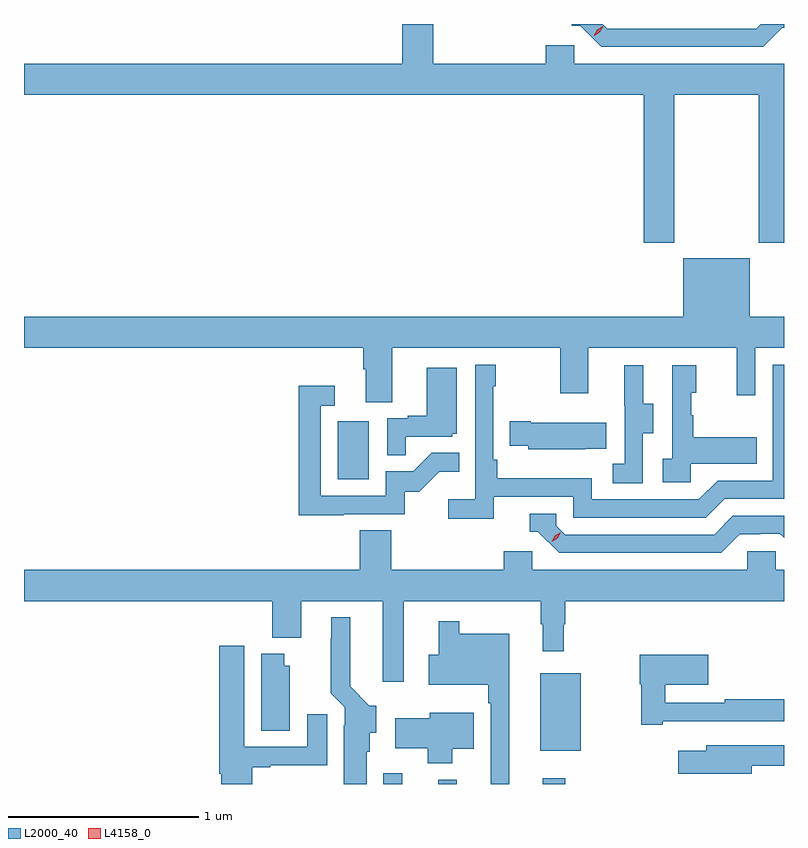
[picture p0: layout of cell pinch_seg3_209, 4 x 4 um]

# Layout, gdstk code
import gdstk
lib = gdstk.Library(unit=1e-6, precision=1e-09)
def R(c, l, rs):  # rectangles x0, y0, x1, y1
    for r in rs: c.add(gdstk.rectangle(r[:2], r[2:], *l))
def P(c, l, *ps):  # polygons
    for p in ps: c.add(gdstk.Polygon(p, *l))
L2000_40 = (2000, 40)
L4158_0 = (4158, 0)

pinch_seg3_209 = lib.new_cell('pinch_seg3_209')
R(pinch_seg3_209, L2000_40, [(964.539,737.249,964.637,737.305), (964.826,737.249,964.925,737.272), (965.378,737.249,965.495,737.278), (965.363,737.423,965.578,737.833), (964.298,738.852,964.462,739.159)])
P(pinch_seg3_209, L2000_40, [(966.637,741.228),(966.647,741.228),(966.647,741.249),(966.525,741.249),(966.501,741.225),(965.718,741.225),(965.694,741.249),(965.531,741.249),(965.531,741.24),(965.574,741.24),(965.685,741.129),(966.538,741.129)],
  [(966.069,740.876),(966.514,740.876),(966.514,740.097),(966.647,740.097),(966.647,741.04),(965.544,741.04),(965.544,741.138),(965.393,741.138),(965.393,741.04),(964.802,741.04),(964.802,741.248),(964.637,741.248),(964.637,741.04),(962.647,741.04),(962.647,740.876),(965.909,740.876),(965.909,740.097),(966.069,740.097)],
  [(962.647,739.544),(964.433,739.544),(964.433,739.432),(964.445,739.432),(964.445,739.258),(964.585,739.258),(964.585,739.544),(965.47,739.544),(965.47,739.305),(965.617,739.305),(965.617,739.544),(966.398,739.544),(966.398,739.296),(966.495,739.296),(966.495,739.544),(966.647,739.544),(966.647,739.708),(966.466,739.708),(966.466,740.017),(966.116,740.017),(966.116,739.708),(962.647,739.708)],
  [(965.12,738.762),(965.538,738.762),(965.538,738.651),(966.235,738.651),(966.334,738.75),(966.647,738.75),(966.647,739.455),(966.588,739.455),(966.588,738.846),(966.297,738.846),(966.198,738.747),(965.634,738.747),(965.634,738.859),(965.138,738.859),(965.138,738.955),(965.118,738.955),(965.118,739.343),(965.131,739.343),(965.131,739.456),(965.022,739.456),(965.022,738.748),(964.881,738.748),(964.881,738.646),(965.12,738.646)],
  [(965.904,739.096),(965.959,739.096),(965.959,739.251),(965.905,739.251),(965.905,739.453),(965.807,739.453),(965.807,739.239),(965.808,739.239),(965.808,738.935),(965.745,738.935),(965.745,738.832),(965.904,738.832)],
  [(966.156,738.935),(966.503,738.935),(966.503,739.075),(966.169,739.075),(966.169,739.19),(966.159,739.19),(966.159,739.308),(966.184,739.308),(966.184,739.453),(966.06,739.453),(966.06,738.962),(966.009,738.962),(966.009,738.837),(966.156,738.837)],
  [(964.655,739.077),(964.902,739.077),(964.902,739.092),(964.924,739.092),(964.924,739.441),(964.766,739.441),(964.766,739.186),(964.667,739.186),(964.667,739.173),(964.56,739.173),(964.56,738.979),(964.655,738.979)],
  [(964.331,738.669),(964.65,738.669),(964.65,738.786),(964.726,738.786),(964.833,738.893),(964.937,738.893),(964.937,738.992),(964.793,738.992),(964.695,738.894),(964.551,738.894),(964.551,738.765),(964.209,738.765),(964.209,739.239),(964.282,739.239),(964.282,739.345),(964.093,739.345),(964.093,738.664),(964.331,738.664)],
  [(965.603,739.013),(965.711,739.013),(965.711,739.15),(965.314,739.15),(965.314,739.158),(965.203,739.158),(965.203,739.028),(965.301,739.028),(965.301,739.01),(965.603,739.01)],
  [(966.415,738.564),(966.522,738.564),(966.522,738.567),(966.625,738.567),(966.647,738.545),(966.647,738.66),(966.378,738.66),(966.279,738.561),(965.496,738.561),(965.448,738.609),(965.448,738.672),(965.309,738.672),(965.309,738.576),(965.352,738.576),(965.463,738.465),(966.316,738.465)],
  [(964.535,737.787),(964.645,737.787),(964.645,738.212),(965.367,738.212),(965.367,738.089),(965.378,738.089),(965.378,737.949),(965.488,737.949),(965.488,738.089),(965.495,738.089),(965.495,738.212),(966.647,738.212),(966.647,738.376),(966.603,738.376),(966.603,738.474),(966.453,738.474),(966.453,738.376),(965.322,738.376),(965.322,738.474),(965.171,738.474),(965.171,738.376),(964.58,738.376),(964.58,738.584),(964.415,738.584),(964.415,738.376),(962.647,738.376),(962.647,738.212),(963.953,738.212),(963.953,738.02),(964.105,738.02),(964.105,738.212),(964.535,738.212)],
  [(964.45,737.418),(964.468,737.418),(964.468,737.518),(964.501,737.518),(964.501,737.662),(964.464,737.662),(964.363,737.764),(964.363,738.127),(964.265,738.127),(964.265,738.017),(964.261,738.017),(964.261,737.726),(964.335,737.652),(964.335,737.558),(964.331,737.558),(964.331,737.249),(964.45,737.249)],
  [(965.2,738.04),(964.939,738.04),(964.939,738.106),(964.829,738.106),(964.829,737.929),(964.776,737.929),(964.776,737.771),(965.091,737.771),(965.091,737.675),(965.103,737.675),(965.103,737.249),(965.2,737.249)],
  [(963.847,737.337),(963.943,737.337),(963.943,737.349),(964.243,737.349),(964.243,737.617),(964.139,737.617),(964.139,737.445),(963.805,737.445),(963.805,737.977),(963.674,737.977),(963.674,737.302),(963.686,737.302),(963.686,737.249),(963.847,737.249)],
  [(964.045,737.871),(964.018,737.871),(964.018,737.935),(963.896,737.935),(963.896,737.53),(964.045,737.53)],
  [(966.01,737.58),(966.647,737.58),(966.647,737.696),(966.334,737.696),(966.334,737.676),(966.023,737.676),(966.023,737.771),(966.247,737.771),(966.247,737.929),(965.887,737.929),(965.887,737.775),(965.895,737.775),(965.895,737.56),(966.01,737.56)],
  [(964.9,737.435),(965.014,737.435),(965.014,737.623),(964.782,737.623),(964.782,737.596),(964.602,737.596),(964.602,737.438),(964.771,737.438),(964.771,737.357),(964.9,737.357)],
  [(966.478,737.346),(966.647,737.346),(966.647,737.454),(966.239,737.454),(966.239,737.425),(966.09,737.425),(966.09,737.303),(966.478,737.303)])
P(pinch_seg3_209, L4158_0, [(965.646,741.187),(965.646,741.187),(965.663,741.22),(965.695,741.239),(965.695,741.239),(965.695,741.238),(965.678,741.206),(965.647,741.187)],
  [(965.424,738.523),(965.424,738.524),(965.441,738.556),(965.471,738.575),(965.472,738.575),(965.472,738.575),(965.455,738.543),(965.425,738.523)])

lib.write_gds('pinch_seg3_209.gds')
